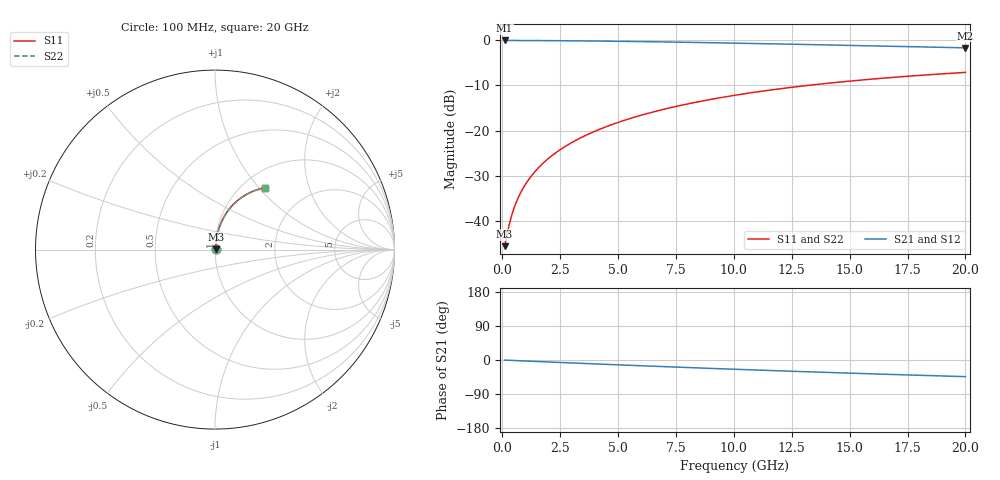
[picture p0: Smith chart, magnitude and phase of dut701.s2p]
! Touchstone file exported from HFSS 2024.1.0
!  File:  C:/UserFiles/LocalFiles/RDL_TSV_Batchsim/temp_RDL_top_701_1779849779.aedt
!  Generated:  10:45:36 AM May 27, 2026
!  Design:  RDL_top
!  Project:  temp_RDL_top_701_1779849779
!  Setup:  Setup1
!  Solution:  Sweep
! Variables:
!  dtsv = 10.80580581um
!  hbump = 3um
!  htsv = 71.24um
!  ldown = 100um
!  lrdl = 586.24um
!  p = 40
!  p1 = 49.94um
!  rhole = 1um
!  t = 450um
!  tdown = 3.915915916um
!  trdl = 2.72um
!  wdown = 15.38538539um
!  wrdl = 17.3um
# GHz S MA R 50.000000
! Terminal data exported
! Port[1] = Box2_T1
! Port[2] = Box2_T2
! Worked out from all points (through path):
!   200 points, 100 MHz to 20 GHz, reference 50 ohm
!   highest |S21| = -0.04 dB at 100 MHz (marker M1); lowest = -1.7 dB at 20 GHz (marker M2)
!   group delay of S21, straight-line fit = 6.09 ps
!   lowest |S11| = -45.5 dB at 100 MHz (marker M3), VSWR 1.01, Z = 50.5 + j0.264 ohm
!   |S11| at or under -10 dB: start of sweep to 13.17 GHz
!   |S22| runs from -45.5 to -7.1 dB; largest |S21 - S12| = 2.3e-15
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0.1  0.005281 29.8  0.9954 -0.3  0.9954 -0.3  0.005281 29.8
! Gamma 0 0 0 0
! Port Impedance 50 0 50 0
0.3  0.009151 58.0  0.9951 -0.8  0.9951 -0.8  0.009151 58.0
0.4  0.01143 63.9  0.9949 -1.1  0.9949 -1.1  0.01143 63.9
0.5  0.01375 67.7  0.9947 -1.3  0.9947 -1.3  0.01375 67.7
0.6  0.01609 70.4  0.9945 -1.6  0.9945 -1.6  0.01609 70.4
0.8  0.0208 73.9  0.9941 -2.1  0.9941 -2.1  0.0208 73.9
1.1  0.02789 76.9  0.9934 -2.9  0.9934 -2.9  0.02789 76.9
1.3  0.03265 78.1  0.993 -3.4  0.993 -3.4  0.03265 78.1
1.6  0.03984 79.4  0.9922 -4.2  0.9922 -4.2  0.03984 79.3
2.1  0.05192 80.4  0.9905 -5.5  0.9905 -5.5  0.05191 80.4
2.7  0.06654 80.8  0.9882 -7.0  0.9882 -7.0  0.06654 80.8
3.5  0.08622 80.5  0.9842 -9.1  0.9842 -9.1  0.08621 80.5
4.2  0.1036 79.9  0.9801 -10.8  0.9801 -10.8  0.1035 79.9
5  0.1235 78.9  0.9747 -12.8  0.9747 -12.8  0.1234 78.9
5.9  0.1459 77.6  0.9679 -15.0  0.9679 -15.0  0.1458 77.6
6.8  0.1682 76.1  0.9605 -17.1  0.9605 -17.1  0.1682 76.1
8.4  0.2074 73.2  0.946 -20.8  0.946 -20.8  0.2074 73.2
10.1  0.2479 69.9  0.9294 -24.6  0.9294 -24.6  0.2478 69.9
11.7  0.2843 66.8  0.9129 -28.0  0.9129 -28.0  0.2842 66.8
13.4  0.321 63.4  0.8949 -31.5  0.8949 -31.5  0.3209 63.4
16.7  0.3856 57.2  0.8595 -38.0  0.8595 -38.0  0.3854 57.1
20  0.4412 51.3  0.8246 -43.9  0.8246 -43.9  0.441 51.3
